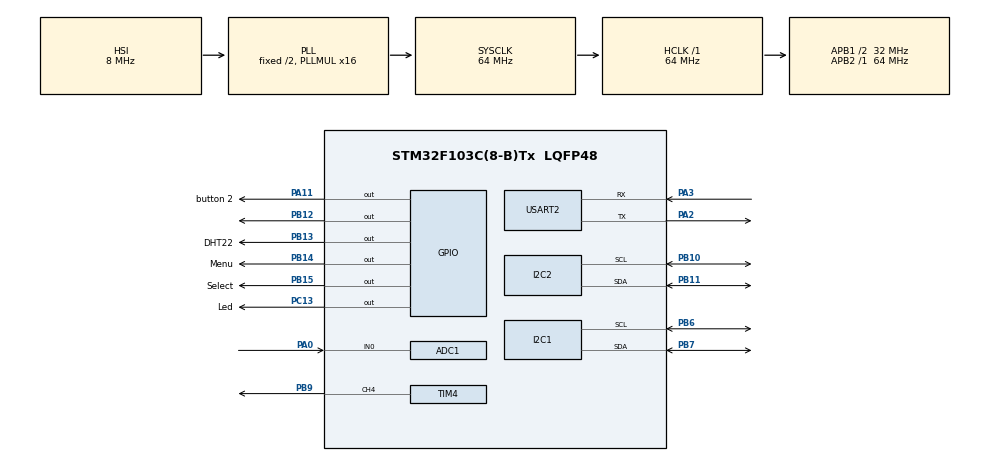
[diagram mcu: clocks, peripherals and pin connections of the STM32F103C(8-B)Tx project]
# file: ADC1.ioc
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ADC1.Channel-1\#ChannelRegularConversion=ADC_CHANNEL_0
ADC1.NbrOfConversionFlag=1
ADC1.Rank-1\#ChannelRegularConversion=1
ADC1.SamplingTime-1\#ChannelRegularConversion=ADC_SAMPLETIME_239CYCLES_5
ADC1.master=1
I2C1.I2C_Mode=I2C_Fast
Mcu.Family=STM32F1
Mcu.Name=STM32F103C(8-B)Tx
Mcu.Package=LQFP48
NVIC.PriorityGroup=NVIC_PRIORITYGROUP_4
PA0-WKUP.Signal=ADCx_IN0
PA11.GPIO_Label=button 2
PA11.PinState=GPIO_PIN_SET
PA11.Signal=GPIO_Output
PA13.Mode=Serial_Wire
PA13.Signal=SYS_JTMS-SWDIO
PA14.Mode=Serial_Wire
PA14.Signal=SYS_JTCK-SWCLK
PA2.Mode=Asynchronous
PA2.Signal=USART2_TX
PA3.Mode=Asynchronous
PA3.Signal=USART2_RX
PB10.Mode=I2C
PB10.Signal=I2C2_SCL
PB11.Mode=I2C
PB11.Signal=I2C2_SDA
PB12.GPIO_PuPd=GPIO_NOPULL
PB12.PinState=GPIO_PIN_SET
PB12.Signal=GPIO_Output
PB13.GPIO_Label=DHT22
PB13.Signal=GPIO_Output
PB14.GPIO_Label=Menu
PB14.PinState=GPIO_PIN_SET
PB14.Signal=GPIO_Output
PB15.GPIO_Label=Select
PB15.PinState=GPIO_PIN_SET
PB15.Signal=GPIO_Output
PB6.Mode=I2C
PB6.Signal=I2C1_SCL
PB7.Mode=I2C
PB7.Signal=I2C1_SDA
PB9.Signal=S_TIM4_CH4
PC13-TAMPER-RTC.GPIO_Label=Led
PC13-TAMPER-RTC.Signal=GPIO_Output
ProjectManager.HeapSize=0x200
ProjectManager.StackSize=0x400
ProjectManager.TargetToolchain=MDK-ARM V5.27
RCC.ADCPresc=RCC_ADCPCLK2_DIV6
RCC.AHBFreq_Value=64000000
RCC.APB1CLKDivider=RCC_HCLK_DIV2
RCC.APB1Freq_Value=32000000
RCC.APB1TimFreq_Value=64000000
RCC.APB2Freq_Value=64000000
RCC.APB2TimFreq_Value=64000000
RCC.HCLKFreq_Value=64000000
RCC.PLLMUL=RCC_PLL_MUL16
RCC.SYSCLKFreq_VALUE=64000000
RCC.SYSCLKSource=RCC_SYSCLKSOURCE_PLLCLK
RCC.USBFreq_Value=64000000
SH.ADCx_IN0.0=ADC1_IN0,IN0
SH.S_TIM4_CH4.0=TIM4_CH4,Output Compare4 CH4
TIM4.Channel-Output\ Compare4\ CH4=TIM_CHANNEL_4
TIM4.Period=0xffff -1
TIM4.Prescaler=72-1
USART2.VirtualMode=VM_ASYNC
VP_TIM4_VS_ClockSourceINT.Mode=Internal
board=custom

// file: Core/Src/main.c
/* USER CODE BEGIN Header */
/**
  ******************************************************************************
  * @file           : main.c
  * @brief          : Main program body
  ******************************************************************************
  * @attention
  *
  * <h2><center>&copy; Copyright (c) 2022 STMicroelectronics.
  * All rights reserved.</center></h2>
  *
  * This software component is licensed by ST under BSD 3-Clause license,
  * the "License"; You may not use this file except in compliance with the
  * License. You may obtain a copy of the License at:
  *                        opensource.org/licenses/BSD-3-Clause
  *
  ******************************************************************************
  */
/* USER CODE END Header */
#include "main.h"

/* USER CODE BEGIN Includes */
#include "ssd1306.h"
#include "fonts.h"
#include "test.h"
#include "math.h"
#include "Button.h"
#include "RTC.h"
#include "DHT.h"
#include "display.h"

#define ADDRESS_DATA_STORAGE 0x800FC00
#define NUM_PPM_VALUES 10
/* USER CODE END Includes */

ADC_HandleTypeDef hadc1;

I2C_HandleTypeDef hi2c1;
I2C_HandleTypeDef hi2c2;

TIM_HandleTypeDef htim4;

UART_HandleTypeDef huart2;

/* USER CODE BEGIN PV */
float Ro = 40;
float Rs;
float RL = 2;
double ppm ;
float Flashback;
float Settime;
float SP;
DHT_Name dht22;
uint8_t gas_change;
uint8_t display_se;
uint8_t menu = 0;
float ppmArray[NUM_PPM_VALUES];

/* USER CODE END PV */

void SystemClock_Config(void);
static void MX_GPIO_Init(void);
static void MX_ADC1_Init(void);
static void MX_I2C1_Init(void);
static void MX_TIM4_Init(void);
static void MX_I2C2_Init(void);
static void MX_USART2_UART_Init(void);

/* USER CODE BEGIN 0 */
Button_Typdef button1;
Button_Typdef button2;
Button_Typdef button3;
Button_Typdef button4;
uint16_t adc1;
uint32_t timecurrent;

RTC_Typedef hrtc1;
//uint8_t * numberToString(uint16_t val){
//	if (val == 0) return (uint8_t *)"0";
//
//	static uint8_t buf[32] = {0};
//
//	int i = 30;
//
//	for(; val && i ; --i, val /= 10)
//
//		buf[i] = "0123456789abcdef"[val % 10];
//
//	return &buf[i+1];
//}

void updatePPM(float newPPMValue) {
    for (int i = NUM_PPM_VALUES - 1; i > 0; i--) {
        ppmArray[i] = ppmArray[i - 1];
    }
    ppmArray[0] = newPPMValue;
}
void savePPMArrayToFlash() {
    flash_Erase(ADDRESS_DATA_STORAGE);
    flash_Write_Array(ADDRESS_DATA_STORAGE, (uint8_t*)ppmArray, NUM_PPM_VALUES * sizeof(float));
}
void readAndDisplayPPMArrayFromFlash() {

    flash_Read_Array(ADDRESS_DATA_STORAGE, (uint8_t*)ppmArray, NUM_PPM_VALUES * sizeof(float));
		SSD1306_Fill(SSD1306_COLOR_BLACK);
		SSD1306_GotoXY (1, 20);
		for (int i = 0; i < NUM_PPM_VALUES; i++) {
    SSD1306_Puts((char *)numberToString(ppmArray[i]), &Font_7x10, SSD1306_COLOR_WHITE);
		SSD1306_Puts (":", &Font_7x10, 1);  }
}
void getmeasured(){
HAL_ADC_Start(&hadc1);
		HAL_ADC_PollForConversion(&hadc1, 1000);
		adc1 = HAL_ADC_GetValue(&hadc1);
		HAL_ADC_Stop(&hadc1);
    Rs = (5*RL/(adc1*3.3/4095))-RL;

   const float slopeLPG = -0.745;
   const float scaleLPG = 17.66;
	 const float slopeCH4 = -0.569;
   const float scaleCH4 = 8.23;
	 if (gas_change == 0)
		  {
				ppm = pow(Rs / (Ro * scaleLPG), 1 / slopeLPG);
			}
   else {
		 ppm = pow(Rs / (Ro * scaleCH4), 1 / slopeCH4);
	      }
		DHT_ReadTempHum(&dht22); //doc nhiet do, do am
}
void	btn_pressing_callback(Button_Typdef *ButtonX) {
if(ButtonX == &button3) {
	display_se = 2;
	if (display_se == 2&&ButtonX == &button3 ){
      menu ++;
 menu = menu % 3;	}
}
if(ButtonX == &button4) {
	if (display_se == 2&&menu ==1){
      display_se = 3;
	if (ButtonX == &button4){
	//SSD1306_ScrollRight(1, 3);
	}
 }
}

}
void btn_press_short_callback(Button_Typdef *ButtonX)
{
	if(ButtonX == &button1)
	{
		display_se = 0;
		getmeasured();
		updatePPM(ppm);
		savePPMArrayToFlash();
		HAL_Delay(10);
	}
	if(ButtonX == &button2)
	{
		gas_change = (gas_change == 0) ? 1 : 0;
	}
	if(ButtonX == &button3)
	{

	}

}
void btn_press_timeout_callback(Button_Typdef *ButtonX)
{

	if(ButtonX == &button1)
	{ display_se = 1;
		// say somthing

	}
	if(ButtonX == &button2)
		{
    display_se = 2;
//		menu = 0;
		}
//	if(ButtonX == &button3)
//		{
//    display_se = 2;
//		menu = 0;
//		}
}
/* USER CODE END 0 */

int main(void)
{
  /* USER CODE BEGIN 1 */
	RTC_Init(&hrtc1,&hi2c2);
  /* USER CODE END 1 */

  /* MCU Configuration--------------------------------------------------------*/

  /* Reset of all peripherals, Initializes the Flash interface and the Systick. */
  HAL_Init();

  /* Configure the system clock */
  SystemClock_Config();

  /* Initialize all configured peripherals */
  MX_GPIO_Init();
  MX_ADC1_Init();
  MX_I2C1_Init();
  MX_TIM4_Init();
  MX_I2C2_Init();
  MX_USART2_UART_Init();
  /* USER CODE BEGIN 2 */
	DHT_Init(&dht22, DHT22, &htim4, GPIOB, GPIO_PIN_13);
	button_init(&button1,GPIOB,GPIO_PIN_12);
	button_init(&button2,GPIOA,GPIO_PIN_11);
	button_init(&button3,GPIOB,GPIO_PIN_14);
	button_init(&button4,GPIOB,GPIO_PIN_15);
	HAL_ADCEx_Calibration_Start(&hadc1);
	SSD1306_Init (); // initialize the display
//  HAL_Delay(200);

  /* USER CODE END 2 */

  /* Infinite loop */
  while (1)
  {

    /* USER CODE BEGIN 3 */
	  button_handle(&button1);
		button_handle(&button2);
		button_handle(&button3);
		button_handle(&button4);
		RTC_ReadTime(&hrtc1,&hrtc1.date_time);
		if(ppm > 1000 && HAL_GetTick() - timecurrent >= 1000)
    { HAL_GPIO_TogglePin(GPIOC, GPIO_PIN_13);
	    timecurrent = HAL_GetTick();
			getmeasured();
		}
//		if (display_se == 0 && gas_change == 0){
//		SSD1306_GotoXY (1, 50);
//		SSD1306_Fill(SSD1306_COLOR_BLACK);
//		SSD1306_Puts((char *)numberToString(hrtc1.date_time.hour), &Font_7x10, SSD1306_COLOR_WHITE);
//		SSD1306_Puts (":", &Font_7x10, 1);
//		SSD1306_Puts((char *)numberToString(hrtc1.date_time.min), &Font_7x10, SSD1306_COLOR_WHITE);
//		SSD1306_Puts (":", &Font_7x10, 1);
//		SSD1306_Puts((char *)numberToString(hrtc1.date_time.second), &Font_7x10, SSD1306_COLOR_WHITE);
//		SSD1306_GotoXY (1,1);
//		SSD1306_Puts ("LPG:", &Font_7x10, 1);
//		SSD1306_Puts((char *)numberToString(ppm), &Font_11x18, SSD1306_COLOR_WHITE);
//    SSD1306_Puts ("ppm", &Font_7x10, 1);
//	//	readAndDisplayPPMArrayFromFlash();
//
//  	SSD1306_UpdateScreen(); // update screen
//		}
//		else if (display_se == 0&&gas_change == 1)
//    {
//		SSD1306_GotoXY (1, 50);
//		SSD1306_Fill(SSD1306_COLOR_BLACK);
//		SSD1306_Puts((char *)numberToString(hrtc1.date_time.hour), &Font_7x10, SSD1306_COLOR_WHITE);
//		SSD1306_Puts (":", &Font_7x10, 1); // print Hello
//		SSD1306_Puts((char *)numberToString(hrtc1.date_time.min), &Font_7x10, SSD1306_COLOR_WHITE);
//		SSD1306_Puts (":", &Font_7x10, 1); // print Hello
//		SSD1306_Puts((char *)numberToString(hrtc1.date_time.second), &Font_7x10, SSD1306_COLOR_WHITE);
//		SSD1306_GotoXY (1,1); // goto 10, 10
//		SSD1306_Puts ("concent_LPG:", &Font_7x10, 1);
//		SSD1306_Puts((char *)numberToString(ppm), &Font_7x10, SSD1306_COLOR_WHITE);
//    SSD1306_Puts ("ppm", &Font_7x10, 1);
//		SSD1306_UpdateScreen();	// update screen
//		}
//		else if (display_se == 1)
//    {
//		SSD1306_Fill(SSD1306_COLOR_BLACK);
//		Ro = 5*RL/(adc1*3.3/4095)-RL;
//		SSD1306_GotoXY (1,1); // goto 10, 10
//    SSD1306_Puts ("da hieu chinh thiet bi", &Font_7x10, 1); // print Hello
//		SSD1306_Puts ("Ro = ", &Font_7x10, 1); // print Hello
//    SSD1306_Puts((char *)numberToString(Ro), &Font_7x10, SSD1306_COLOR_WHITE);
////		HAL_Delay(100);
////		//SSD1306_Puts ("WORLD !!", &Font_7x10, 1);
//    SSD1306_UpdateScreen(); // update screen
//		}
   display();

	}
  /* USER CODE END 3 */
}

void SystemClock_Config(void)
{
  RCC_OscInitTypeDef RCC_OscInitStruct = {0};
  RCC_ClkInitTypeDef RCC_ClkInitStruct = {0};
  RCC_PeriphCLKInitTypeDef PeriphClkInit = {0};

  /** Initializes the RCC Oscillators according to the specified parameters
  * in the RCC_OscInitTypeDef structure.
  */
  RCC_OscInitStruct.OscillatorType = RCC_OSCILLATORTYPE_HSI;
  RCC_OscInitStruct.HSIState = RCC_HSI_ON;
  RCC_OscInitStruct.HSICalibrationValue = RCC_HSICALIBRATION_DEFAULT;
  RCC_OscInitStruct.PLL.PLLState = RCC_PLL_ON;
  RCC_OscInitStruct.PLL.PLLSource = RCC_PLLSOURCE_HSI_DIV2;
  RCC_OscInitStruct.PLL.PLLMUL = RCC_PLL_MUL16;
  if (HAL_RCC_OscConfig(&RCC_OscInitStruct) != HAL_OK)
  {
    Error_Handler();
  }
  /** Initializes the CPU, AHB and APB buses clocks
  */
  RCC_ClkInitStruct.ClockType = RCC_CLOCKTYPE_HCLK|RCC_CLOCKTYPE_SYSCLK
                              |RCC_CLOCKTYPE_PCLK1|RCC_CLOCKTYPE_PCLK2;
  RCC_ClkInitStruct.SYSCLKSource = RCC_SYSCLKSOURCE_PLLCLK;
  RCC_ClkInitStruct.AHBCLKDivider = RCC_SYSCLK_DIV1;
  RCC_ClkInitStruct.APB1CLKDivider = RCC_HCLK_DIV2;
  RCC_ClkInitStruct.APB2CLKDivider = RCC_HCLK_DIV1;

  if (HAL_RCC_ClockConfig(&RCC_ClkInitStruct, FLASH_LATENCY_2) != HAL_OK)
  {
    Error_Handler();
  }
  PeriphClkInit.PeriphClockSelection = RCC_PERIPHCLK_ADC;
  PeriphClkInit.AdcClockSelection = RCC_ADCPCLK2_DIV6;
  if (HAL_RCCEx_PeriphCLKConfig(&PeriphClkInit) != HAL_OK)
  {
    Error_Handler();
  }
}

static void MX_ADC1_Init(void)
{

  ADC_ChannelConfTypeDef sConfig = {0};

  /** Common config
  */
  hadc1.Instance = ADC1;
  hadc1.Init.ScanConvMode = ADC_SCAN_DISABLE;
  hadc1.Init.ContinuousConvMode = DISABLE;
  hadc1.Init.DiscontinuousConvMode = DISABLE;
  hadc1.Init.ExternalTrigConv = ADC_SOFTWARE_START;
  hadc1.Init.DataAlign = ADC_DATAALIGN_RIGHT;
  hadc1.Init.NbrOfConversion = 1;
  if (HAL_ADC_Init(&hadc1) != HAL_OK)
  {
    Error_Handler();
  }
  /** Configure Regular Channel
  */
  sConfig.Channel = ADC_CHANNEL_0;
  sConfig.Rank = ADC_REGULAR_RANK_1;
  sConfig.SamplingTime = ADC_SAMPLETIME_239CYCLES_5;
  if (HAL_ADC_ConfigChannel(&hadc1, &sConfig) != HAL_OK)
  {
    Error_Handler();
  }

}

static void MX_I2C1_Init(void)
{

  hi2c1.Instance = I2C1;
  hi2c1.Init.ClockSpeed = 400000;
  hi2c1.Init.DutyCycle = I2C_DUTYCYCLE_2;
  hi2c1.Init.OwnAddress1 = 0;
  hi2c1.Init.AddressingMode = I2C_ADDRESSINGMODE_7BIT;
  hi2c1.Init.DualAddressMode = I2C_DUALADDRESS_DISABLE;
  hi2c1.Init.OwnAddress2 = 0;
  hi2c1.Init.GeneralCallMode = I2C_GENERALCALL_DISABLE;
  hi2c1.Init.NoStretchMode = I2C_NOSTRETCH_DISABLE;
  if (HAL_I2C_Init(&hi2c1) != HAL_OK)
  {
    Error_Handler();
  }

}

static void MX_I2C2_Init(void)
{

  hi2c2.Instance = I2C2;
  hi2c2.Init.ClockSpeed = 100000;
  hi2c2.Init.DutyCycle = I2C_DUTYCYCLE_2;
  hi2c2.Init.OwnAddress1 = 0;
  hi2c2.Init.AddressingMode = I2C_ADDRESSINGMODE_7BIT;
  hi2c2.Init.DualAddressMode = I2C_DUALADDRESS_DISABLE;
  hi2c2.Init.OwnAddress2 = 0;
  hi2c2.Init.GeneralCallMode = I2C_GENERALCALL_DISABLE;
  hi2c2.Init.NoStretchMode = I2C_NOSTRETCH_DISABLE;
  if (HAL_I2C_Init(&hi2c2) != HAL_OK)
  {
    Error_Handler();
  }

}

static void MX_TIM4_Init(void)
{

  TIM_ClockConfigTypeDef sClockSourceConfig = {0};
  TIM_MasterConfigTypeDef sMasterConfig = {0};
  TIM_OC_InitTypeDef sConfigOC = {0};

  htim4.Instance = TIM4;
  htim4.Init.Prescaler = 72-1;
  htim4.Init.CounterMode = TIM_COUNTERMODE_UP;
  htim4.Init.Period = 0xffff -1;
  htim4.Init.ClockDivision = TIM_CLOCKDIVISION_DIV1;
  htim4.Init.AutoReloadPreload = TIM_AUTORELOAD_PRELOAD_DISABLE;
  if (HAL_TIM_Base_Init(&htim4) != HAL_OK)
  {
    Error_Handler();
  }
  sClockSourceConfig.ClockSource = TIM_CLOCKSOURCE_INTERNAL;
  if (HAL_TIM_ConfigClockSource(&htim4, &sClockSourceConfig) != HAL_OK)
  {
    Error_Handler();
  }
  if (HAL_TIM_OC_Init(&htim4) != HAL_OK)
  {
    Error_Handler();
  }
  sMasterConfig.MasterOutputTrigger = TIM_TRGO_RESET;
  sMasterConfig.MasterSlaveMode = TIM_MASTERSLAVEMODE_DISABLE;
  if (HAL_TIMEx_MasterConfigSynchronization(&htim4, &sMasterConfig) != HAL_OK)
  {
    Error_Handler();
  }
  sConfigOC.OCMode = TIM_OCMODE_TIMING;
  sConfigOC.Pulse = 0;
  sConfigOC.OCPolarity = TIM_OCPOLARITY_HIGH;
  sConfigOC.OCFastMode = TIM_OCFAST_DISABLE;
  if (HAL_TIM_OC_ConfigChannel(&htim4, &sConfigOC, TIM_CHANNEL_4) != HAL_OK)
  {
    Error_Handler();
  }
  HAL_TIM_MspPostInit(&htim4);

}

static void MX_USART2_UART_Init(void)
{

  huart2.Instance = USART2;
  huart2.Init.BaudRate = 115200;
  huart2.Init.WordLength = UART_WORDLENGTH_8B;
  huart2.Init.StopBits = UART_STOPBITS_1;
  huart2.Init.Parity = UART_PARITY_NONE;
  huart2.Init.Mode = UART_MODE_TX_RX;
  huart2.Init.HwFlowCtl = UART_HWCONTROL_NONE;
  huart2.Init.OverSampling = UART_OVERSAMPLING_16;
  if (HAL_UART_Init(&huart2) != HAL_OK)
  {
    Error_Handler();
  }

}

static void MX_GPIO_Init(void)
{
  GPIO_InitTypeDef GPIO_InitStruct = {0};

  /* GPIO Ports Clock Enable */
  __HAL_RCC_GPIOC_CLK_ENABLE();
  __HAL_RCC_GPIOA_CLK_ENABLE();
  __HAL_RCC_GPIOB_CLK_ENABLE();

  /*Configure GPIO pin Output Level */
  HAL_GPIO_WritePin(Led_GPIO_Port, Led_Pin, GPIO_PIN_RESET);

  /*Configure GPIO pin Output Level */
  HAL_GPIO_WritePin(GPIOB, GPIO_PIN_12|Menu_Pin|Select_Pin, GPIO_PIN_SET);

  /*Configure GPIO pin Output Level */
  HAL_GPIO_WritePin(DHT22_GPIO_Port, DHT22_Pin, GPIO_PIN_RESET);

  /*Configure GPIO pin Output Level */
  HAL_GPIO_WritePin(button_2_GPIO_Port, button_2_Pin, GPIO_PIN_SET);

  /*Configure GPIO pin : Led_Pin */
  GPIO_InitStruct.Pin = Led_Pin;
  GPIO_InitStruct.Mode = GPIO_MODE_OUTPUT_PP;
  GPIO_InitStruct.Pull = GPIO_NOPULL;
  GPIO_InitStruct.Speed = GPIO_SPEED_FREQ_LOW;
  HAL_GPIO_Init(Led_GPIO_Port, &GPIO_InitStruct);

  /*Configure GPIO pins : PB12 DHT22_Pin Menu_Pin Select_Pin */
  GPIO_InitStruct.Pin = GPIO_PIN_12|DHT22_Pin|Menu_Pin|Select_Pin;
  GPIO_InitStruct.Mode = GPIO_MODE_OUTPUT_PP;
  GPIO_InitStruct.Pull = GPIO_NOPULL;
  GPIO_InitStruct.Speed = GPIO_SPEED_FREQ_LOW;
  HAL_GPIO_Init(GPIOB, &GPIO_InitStruct);

  /*Configure GPIO pin : button_2_Pin */
  GPIO_InitStruct.Pin = button_2_Pin;
  GPIO_InitStruct.Mode = GPIO_MODE_OUTPUT_PP;
  GPIO_InitStruct.Pull = GPIO_NOPULL;
  GPIO_InitStruct.Speed = GPIO_SPEED_FREQ_LOW;
  HAL_GPIO_Init(button_2_GPIO_Port, &GPIO_InitStruct);

}

void Error_Handler(void)
{
}

/************************ (C) COPYRIGHT STMicroelectronics *****END OF FILE****/
